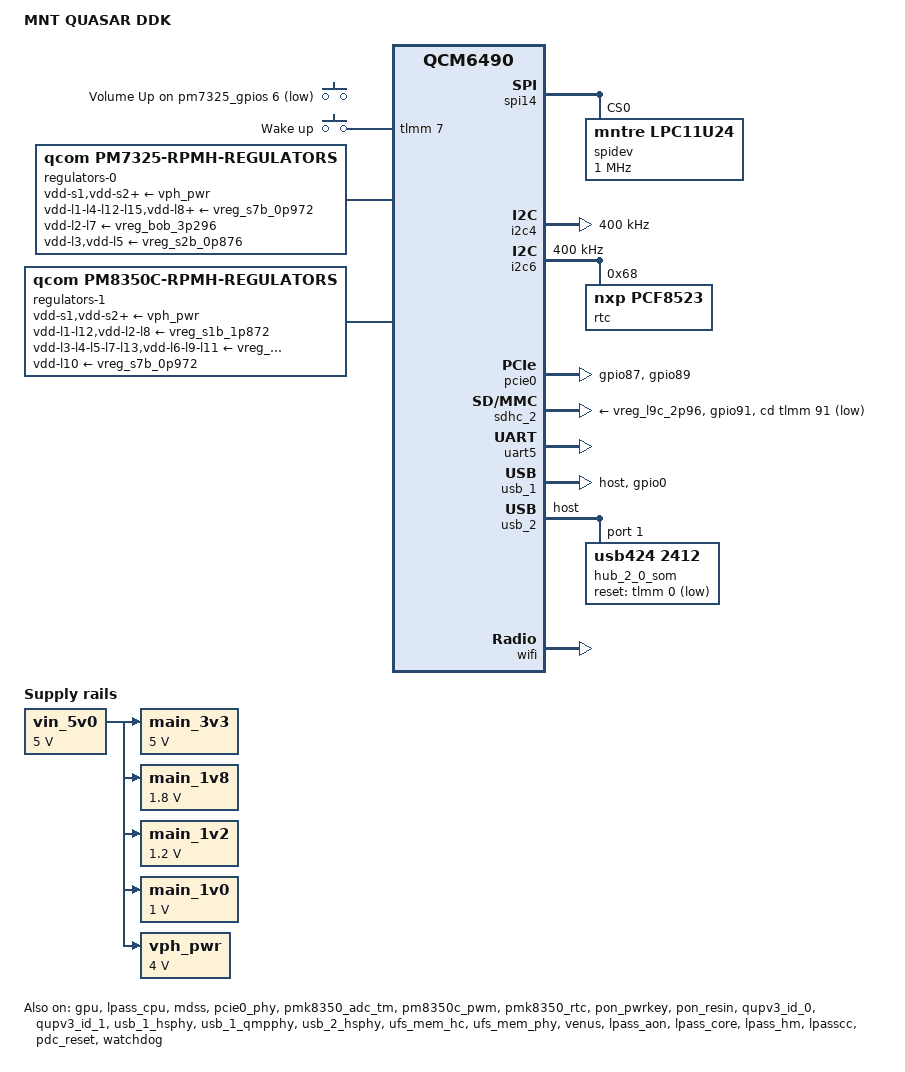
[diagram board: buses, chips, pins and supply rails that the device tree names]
// SPDX-License-Identifier: BSD-3-Clause
/*
 * Copyright (c) 2023-2024 Qualcomm Innovation Center, Inc.
 * Copyright (c) 2026, MNT Research GmbH
 */

/dts-v1/;

/* PM7250B is configured to use SID8/9 */
#define PM7250B_SID 8
#define PM7250B_SID1 9

#include <dt-bindings/iio/qcom,spmi-adc7-pmk8350.h>
#include <dt-bindings/iio/qcom,spmi-adc7-pm7325.h>
#include <dt-bindings/leds/common.h>
#include <dt-bindings/pinctrl/qcom,pmic-gpio.h>
#include <dt-bindings/regulator/qcom,rpmh-regulator.h>
#include "kodiak.dtsi"
#include "pm7250b.dtsi"
#include "pm7325.dtsi"
#include "pm8350c.dtsi"
#include "pmk8350.dtsi"

/delete-node/ &ipa_fw_mem;
/delete-node/ &rmtfs_mem;
/delete-node/ &adsp_mem;
/delete-node/ &cdsp_mem;
/delete-node/ &gpu_zap_mem;
/delete-node/ &gpu_zap_shader;
/delete-node/ &video_mem;
/delete-node/ &wlan_ce_mem;
/delete-node/ &wpss_mem;
/delete-node/ &xbl_mem;
/delete-node/ &hyp_mem;
/delete-node/ &reserved_xbl_uefi_log;

/ {
	model = "MNT QUASAR DDK";
	compatible = "mnt,qcs6490-quasar", "qcom,qcm6490";
	chassis-type = "embedded";

	aliases {
		serial0 = &uart5;
	};

	chosen {
		stdout-path = "serial0:115200n8";
	};

	vin_5v0: vin-5v0-regulator {
		compatible = "regulator-fixed";
		regulator-name = "vin_5v0";
		regulator-min-microvolt = <5000000>;
		regulator-max-microvolt = <5000000>;

		regulator-always-on;
		regulator-boot-on;
	};

	main_3v3: main-3v3-regulator {
		compatible = "regulator-fixed";
		regulator-name = "main_3v3";
		regulator-min-microvolt = <5000000>;
		regulator-max-microvolt = <5000000>;

		regulator-always-on;
		regulator-boot-on;

		vin-supply = <&vin_5v0>;
	};

	main_1v8: main-1v2-regulator {
		compatible = "regulator-fixed";
		regulator-name = "main_1v8";
		regulator-min-microvolt = <1800000>;
		regulator-max-microvolt = <1800000>;

		regulator-always-on;
		regulator-boot-on;

		vin-supply = <&vin_5v0>;
	};

	main_1v2: main-1v2-regulator {
		compatible = "regulator-fixed";
		regulator-name = "main_1v2";
		regulator-min-microvolt = <1200000>;
		regulator-max-microvolt = <1200000>;

		regulator-always-on;
		regulator-boot-on;

		vin-supply = <&vin_5v0>;
	};

	main_1v0: main-1v0-regulator {
		compatible = "regulator-fixed";
		regulator-name = "main_1v0";
		regulator-min-microvolt = <1000000>;
		regulator-max-microvolt = <1000000>;

		regulator-always-on;
		regulator-boot-on;

		vin-supply = <&vin_5v0>;
	};

	reserved-memory {
		xbl_mem: xbl@80700000 {
			reg = <0x0 0x80700000 0x0 0x100000>;
			no-map;
		};

		cdsp_secure_heap_mem: cdsp-secure-heap@81800000 {
			reg = <0x0 0x81800000 0x0 0x1e00000>;
			no-map;
		};

		camera_mem: camera@84300000 {
			reg = <0x0 0x84300000 0x0 0x500000>;
			no-map;
		};

		wpss_mem: wpss@84800000 {
			reg = <0x0 0x84800000 0x0 0x1900000>;
			no-map;
		};

		adsp_mem: adsp@86100000 {
			reg = <0x0 0x86100000 0x0 0x2800000>;
			no-map;
		};

		cdsp_mem: cdsp@88900000 {
			reg = <0x0 0x88900000 0x0 0x1e00000>;
			no-map;
		};

		video_mem: video@8a700000 {
			reg = <0x0 0x8a700000 0x0 0x700000>;
			no-map;
		};

		cvp_mem: cvp@8ae00000 {
			reg = <0x0 0x8ae00000 0x0 0x500000>;
			no-map;
		};

		ipa_fw_mem: ipa-fw@8b300000 {
			reg = <0x0 0x8b300000 0x0 0x10000>;
			no-map;
		};

		ipa_gsi_mem: ipa-gsi@8b310000 {
			reg = <0x0 0x8b310000 0x0 0xa000>;
			no-map;
		};

		gpu_microcode_mem: gpu-microcode@8b31a000 {
			reg = <0x0 0x8b31a000 0x0 0x2000>;
			no-map;
		};

		tz_stat_mem: tz-stat@c0000000 {
			reg = <0x0 0xc0000000 0x0 0x100000>;
			no-map;
		};

		tags_mem: tags@c0100000 {
			reg = <0x0 0xc0100000 0x0 0x1200000>;
			no-map;
		};

		qtee_mem: qtee@c1300000 {
			reg = <0x0 0xc1300000 0x0 0x500000>;
			no-map;
		};

		trusted_apps_mem: trusted-apps@c1800000 {
			reg = <0x0 0xc1800000 0x0 0x1c00000>;
			no-map;
		};

		debug_vm_mem: debug-vm@d0600000 {
			reg = <0x0 0xd0600000 0x0 0x100000>;
			no-map;
		};
	};

	gpio-keys {
		compatible = "gpio-keys";

		pinctrl-0 = <&kypd_vol_up_n &wakeup_key>;
		pinctrl-names = "default";

		key-volume-up {
			label = "Volume Up";
			gpios = <&pm7325_gpios 6 GPIO_ACTIVE_LOW>;
			linux,code = <KEY_VOLUMEUP>;
			linux,can-disable;
		};

		key-wakeup {
			label = "Wake up";
			gpios = <&tlmm 7 GPIO_ACTIVE_HIGH>;
			linux,code = <KEY_WAKEUP>;
			wakeup-source;
		};
	};

	thermal-zones {
		sdm-skin-thermal {
			thermal-sensors = <&pmk8350_adc_tm 3>;

			trips {
				active-config0 {
					temperature = <125000>;
					hysteresis = <1000>;
					type = "passive";
				};
			};
		};

		quiet-thermal {
			thermal-sensors = <&pmk8350_adc_tm 1>;

			trips {
				active-config0 {
					temperature = <125000>;
					hysteresis = <1000>;
					type = "passive";
				};
			};
		};

		xo-thermal {
			thermal-sensors = <&pmk8350_adc_tm 0>;

			trips {
				active-config0 {
					temperature = <125000>;
					hysteresis = <1000>;
					type = "passive";
				};
			};
		};
	};

	vph_pwr: vph-pwr-regulator {
		compatible = "regulator-fixed";
		regulator-name = "vph_pwr";
		regulator-min-microvolt = <4000000>;
		regulator-max-microvolt = <4000000>;
		regulator-always-on;
		regulator-boot-on;

		vin-supply = <&vin_5v0>;
	};
};

&apps_rsc {
	regulators-0 {
		compatible = "qcom,pm7325-rpmh-regulators";
		qcom,pmic-id = "b";

		vdd-s1-supply = <&vph_pwr>;
		vdd-s2-supply = <&vph_pwr>;
		vdd-s3-supply = <&vph_pwr>;
		vdd-s4-supply = <&vph_pwr>;
		vdd-s5-supply = <&vph_pwr>;
		vdd-s6-supply = <&vph_pwr>;
		vdd-s7-supply = <&vph_pwr>;
		vdd-s8-supply = <&vph_pwr>;
		vdd-l1-l4-l12-l15-supply = <&vreg_s7b_0p972>;
		vdd-l2-l7-supply = <&vreg_bob_3p296>;
		vdd-l3-supply = <&vreg_s2b_0p876>;
		vdd-l5-supply = <&vreg_s2b_0p876>;
		vdd-l6-l9-l10-supply = <&vreg_s8b_1p272>;
		vdd-l8-supply = <&vreg_s7b_0p972>;
		vdd-l11-l17-l18-l19-supply = <&vreg_s1b_1p872>;
		vdd-l13-supply = <&vreg_s7b_0p972>;
		vdd-l14-l16-supply = <&vreg_s8b_1p272>;

		vreg_s1b_1p872: smps1 {
			regulator-name = "vreg_s1b_1p872";
			regulator-min-microvolt = <1840000>;
			regulator-max-microvolt = <2040000>;
		};

		vreg_s2b_0p876: smps2 {
			regulator-name = "vreg_s2b_0p876";
			regulator-min-microvolt = <570070>;
			regulator-max-microvolt = <1050000>;
		};

		vreg_s7b_0p972: smps7 {
			regulator-name = "vreg_s7b_0p972";
			regulator-min-microvolt = <535000>;
			regulator-max-microvolt = <1120000>;
		};

		vreg_s8b_1p272: smps8 {
			regulator-name = "vreg_s8b_1p272";
			regulator-min-microvolt = <1200000>;
			regulator-max-microvolt = <1500000>;
			regulator-initial-mode = <RPMH_REGULATOR_MODE_RET>;
		};

		vreg_l1b_0p912: ldo1 {
			regulator-name = "vreg_l1b_0p912";
			regulator-min-microvolt = <825000>;
			regulator-max-microvolt = <925000>;
			regulator-initial-mode = <RPMH_REGULATOR_MODE_HPM>;
		};

		vreg_l2b_3p072: ldo2 {
			regulator-name = "vreg_l2b_3p072";
			regulator-min-microvolt = <2700000>;
			regulator-max-microvolt = <3544000>;
			regulator-initial-mode = <RPMH_REGULATOR_MODE_HPM>;
		};

		vreg_l3b_0p504: ldo3 {
			regulator-name = "vreg_l3b_0p504";
			regulator-min-microvolt = <312000>;
			regulator-max-microvolt = <910000>;
			regulator-initial-mode = <RPMH_REGULATOR_MODE_HPM>;
		};

		vreg_l4b_0p752: ldo4 {
			regulator-name = "vreg_l4b_0p752";
			regulator-min-microvolt = <752000>;
			regulator-max-microvolt = <820000>;
			regulator-initial-mode = <RPMH_REGULATOR_MODE_HPM>;
		};

		reg_l5b_0p752: ldo5 {
			regulator-name = "reg_l5b_0p752";
			regulator-min-microvolt = <552000>;
			regulator-max-microvolt = <832000>;
			regulator-initial-mode = <RPMH_REGULATOR_MODE_HPM>;
		};

		vreg_l6b_1p2: ldo6 {
			regulator-name = "vreg_l6b_1p2";
			regulator-min-microvolt = <1140000>;
			regulator-max-microvolt = <1260000>;
			regulator-initial-mode = <RPMH_REGULATOR_MODE_HPM>;
		};

		vreg_l7b_2p952: ldo7 {
			regulator-name = "vreg_l7b_2p952";
			regulator-min-microvolt = <2952000>;
			regulator-max-microvolt = <2952000>;
			regulator-initial-mode = <RPMH_REGULATOR_MODE_HPM>;
		};

		vreg_l8b_0p904: ldo8 {
			regulator-name = "vreg_l8b_0p904";
			regulator-min-microvolt = <870000>;
			regulator-max-microvolt = <970000>;
			regulator-initial-mode = <RPMH_REGULATOR_MODE_HPM>;
		};

		vreg_l9b_1p2: ldo9 {
			regulator-name = "vreg_l9b_1p2";
			regulator-min-microvolt = <1200000>;
			regulator-max-microvolt = <1200000>;
			regulator-initial-mode = <RPMH_REGULATOR_MODE_HPM>;
			regulator-allow-set-load;
			regulator-allowed-modes = <RPMH_REGULATOR_MODE_LPM
							 RPMH_REGULATOR_MODE_HPM>;
		};

		vreg_l11b_1p504: ldo11 {
			regulator-name = "vreg_l11b_1p504";
			regulator-min-microvolt = <1504000>;
			regulator-max-microvolt = <2000000>;
			regulator-initial-mode = <RPMH_REGULATOR_MODE_HPM>;
		};

		vreg_l12b_0p751: ldo12 {
			regulator-name = "vreg_l12b_0p751";
			regulator-min-microvolt = <751000>;
			regulator-max-microvolt = <824000>;
			regulator-initial-mode = <RPMH_REGULATOR_MODE_HPM>;
		};

		vreg_l13b_0p53: ldo13 {
			regulator-name = "vreg_l13b_0p53";
			regulator-min-microvolt = <530000>;
			regulator-max-microvolt = <824000>;
			regulator-initial-mode = <RPMH_REGULATOR_MODE_HPM>;
		};

		vreg_l14b_1p08: ldo14 {
			regulator-name = "vreg_l14b_1p08";
			regulator-min-microvolt = <1080000>;
			regulator-max-microvolt = <1304000>;
			regulator-initial-mode = <RPMH_REGULATOR_MODE_HPM>;
		};

		vreg_l15b_0p765: ldo15 {
			regulator-name = "vreg_l15b_0p765";
			regulator-min-microvolt = <765000>;
			regulator-max-microvolt = <1020000>;
			regulator-initial-mode = <RPMH_REGULATOR_MODE_HPM>;
		};

		vreg_l16b_1p1: ldo16 {
			regulator-name = "vreg_l16b_1p1";
			regulator-min-microvolt = <1100000>;
			regulator-max-microvolt = <1300000>;
			regulator-initial-mode = <RPMH_REGULATOR_MODE_HPM>;
		};

		vreg_l17b_1p7: ldo17 {
			regulator-name = "vreg_l17b_1p7";
			regulator-min-microvolt = <1700000>;
			regulator-max-microvolt = <1900000>;
			regulator-initial-mode = <RPMH_REGULATOR_MODE_HPM>;
		};

		vreg_l18b_1p8: ldo18 {
			regulator-name = "vreg_l18b_1p8";
			regulator-min-microvolt = <1800000>;
			regulator-max-microvolt = <2000000>;
			regulator-initial-mode = <RPMH_REGULATOR_MODE_HPM>;
		};

		vreg_l19b_1p8: ldo19 {
			regulator-name = "vreg_l19b_1p8";
			regulator-min-microvolt = <1800000>;
			regulator-max-microvolt = <2000000>;
			regulator-initial-mode = <RPMH_REGULATOR_MODE_HPM>;
		};
	};

	regulators-1 {
		compatible = "qcom,pm8350c-rpmh-regulators";
		qcom,pmic-id = "c";

		vdd-s1-supply = <&vph_pwr>;
		vdd-s2-supply = <&vph_pwr>;
		vdd-s3-supply = <&vph_pwr>;
		vdd-s4-supply = <&vph_pwr>;
		vdd-s5-supply = <&vph_pwr>;
		vdd-s6-supply = <&vph_pwr>;
		vdd-s7-supply = <&vph_pwr>;
		vdd-s8-supply = <&vph_pwr>;
		vdd-s9-supply = <&vph_pwr>;
		vdd-s10-supply = <&vph_pwr>;
		vdd-l1-l12-supply = <&vreg_s1b_1p872>;
		vdd-l2-l8-supply = <&vreg_s1b_1p872>;
		vdd-l3-l4-l5-l7-l13-supply = <&vreg_bob_3p296>;
		vdd-l6-l9-l11-supply = <&vreg_bob_3p296>;
		vdd-l10-supply = <&vreg_s7b_0p972>;
		vdd-bob-supply = <&vph_pwr>;

		vreg_s1c_2p19: smps1 {
			regulator-name = "vreg_s1c_2p19";
			regulator-min-microvolt = <2190000>;
			regulator-max-microvolt = <2210000>;
		};

		vreg_s2c_0p752: smps2 {
			regulator-name = "vreg_s2c_0p752";
			regulator-min-microvolt = <750000>;
			regulator-max-microvolt = <800000>;
		};

		vreg_s5c_0p752: smps5 {
			regulator-name = "vreg_s5c_0p752";
			regulator-min-microvolt = <465000>;
			regulator-max-microvolt = <1050000>;
		};

		vreg_s7c_0p752: smps7 {
			regulator-name = "vreg_s7c_0p752";
			regulator-min-microvolt = <465000>;
			regulator-max-microvolt = <800000>;
		};

		vreg_s9c_1p084: smps9 {
			regulator-name = "vreg_s9c_1p084";
			regulator-min-microvolt = <1010000>;
			regulator-max-microvolt = <1170000>;
		};

		vreg_l1c_1p8: ldo1 {
			regulator-name = "vreg_l1c_1p8";
			regulator-min-microvolt = <1800000>;
			regulator-max-microvolt = <1980000>;
			regulator-initial-mode = <RPMH_REGULATOR_MODE_HPM>;
		};

		vreg_l2c_1p62: ldo2 {
			regulator-name = "vreg_l2c_1p62";
			regulator-min-microvolt = <1620000>;
			regulator-max-microvolt = <1980000>;
			regulator-initial-mode = <RPMH_REGULATOR_MODE_HPM>;
		};

		vreg_l3c_2p8: ldo3 {
			regulator-name = "vreg_l3c_2p8";
			regulator-min-microvolt = <2800000>;
			regulator-max-microvolt = <3540000>;
			regulator-initial-mode = <RPMH_REGULATOR_MODE_HPM>;
		};

		vreg_l4c_1p62: ldo4 {
			regulator-name = "vreg_l4c_1p62";
			regulator-min-microvolt = <1620000>;
			regulator-max-microvolt = <3300000>;
			regulator-initial-mode = <RPMH_REGULATOR_MODE_HPM>;
		};

		vreg_l5c_1p62: ldo5 {
			regulator-name = "vreg_l5c_1p62";
			regulator-min-microvolt = <1620000>;
			regulator-max-microvolt = <3300000>;
			regulator-initial-mode = <RPMH_REGULATOR_MODE_HPM>;
		};

		vreg_l6c_2p96: ldo6 {
			regulator-name = "vreg_l6c_2p96";
			regulator-min-microvolt = <1650000>;
			regulator-max-microvolt = <3544000>;
			regulator-initial-mode = <RPMH_REGULATOR_MODE_HPM>;
		};

		vreg_l7c_3p0: ldo7 {
			regulator-name = "vreg_l7c_3p0";
			regulator-min-microvolt = <3000000>;
			regulator-max-microvolt = <3544000>;
			regulator-initial-mode = <RPMH_REGULATOR_MODE_HPM>;
		};

		vreg_l8c_1p62: ldo8 {
			regulator-name = "vreg_l8c_1p62";
			regulator-min-microvolt = <1620000>;
			regulator-max-microvolt = <2000000>;
			regulator-initial-mode = <RPMH_REGULATOR_MODE_HPM>;
		};

		vreg_l9c_2p96: ldo9 {
			regulator-name = "vreg_l9c_2p96";
			regulator-min-microvolt = <2700000>;
			regulator-max-microvolt = <35440000>;
			regulator-initial-mode = <RPMH_REGULATOR_MODE_HPM>;
		};

		vreg_l10c_0p88: ldo10 {
			regulator-name = "vreg_l10c_0p88";
			regulator-min-microvolt = <720000>;
			regulator-max-microvolt = <1050000>;
			regulator-initial-mode = <RPMH_REGULATOR_MODE_HPM>;
		};

		vreg_l11c_2p8: ldo11 {
			regulator-name = "vreg_l11c_2p8";
			regulator-min-microvolt = <2800000>;
			regulator-max-microvolt = <3544000>;
			regulator-initial-mode = <RPMH_REGULATOR_MODE_HPM>;
		};

		vreg_l12c_1p65: ldo12 {
			regulator-name = "vreg_l12c_1p65";
			regulator-min-microvolt = <1650000>;
			regulator-max-microvolt = <2000000>;
			regulator-initial-mode = <RPMH_REGULATOR_MODE_HPM>;
		};

		vreg_l13c_2p7: ldo13 {
			regulator-name = "vreg_l13c_2p7";
			regulator-min-microvolt = <2700000>;
			regulator-max-microvolt = <3544000>;
			regulator-initial-mode = <RPMH_REGULATOR_MODE_HPM>;
		};

		vreg_bob_3p296: bob {
			regulator-name = "vreg_bob_3p296";
			regulator-min-microvolt = <3008000>;
			regulator-max-microvolt = <3960000>;
		};
	};
};

&gcc {
	protected-clocks = <GCC_CFG_NOC_LPASS_CLK>,
			   <GCC_MSS_CFG_AHB_CLK>,
			   <GCC_MSS_GPLL0_MAIN_DIV_CLK_SRC>,
			   <GCC_MSS_OFFLINE_AXI_CLK>,
			   <GCC_MSS_Q6SS_BOOT_CLK_SRC>,
			   <GCC_MSS_Q6_MEMNOC_AXI_CLK>,
			   <GCC_MSS_SNOC_AXI_CLK>,
			   <GCC_QSPI_CNOC_PERIPH_AHB_CLK>,
			   <GCC_QSPI_CORE_CLK>,
			   <GCC_QSPI_CORE_CLK_SRC>,
			   <GCC_SEC_CTRL_CLK_SRC>,
			   <GCC_WPSS_AHB_BDG_MST_CLK>,
			   <GCC_WPSS_AHB_CLK>,
			   <GCC_WPSS_RSCP_CLK>;
};

&gpi_dma0 {
	status = "okay";
};

&gpi_dma1 {
	status = "okay";
};

&gpu {
	status = "okay";
};

&lpass_cpu {
	pinctrl-names = "default";
	pinctrl-0 = <&mi2s0_data0>, <&mi2s0_data1>, <&mi2s0_mclk>, <&mi2s0_sclk>, <&mi2s0_ws>;

	#address-cells = <1>;
	#size-cells = <0>;

	status = "okay";

	dai-link@0 {
		reg = <MI2S_PRIMARY>;
		qcom,playback-sd-lines = <0>;
		qcom,capture-sd-lines = <1>;
	};
};

&mi2s0_data0 {
	drive-strength = <6>;
	bias-disable;
};

&mi2s0_data1 {
	drive-strength = <6>;
	bias-disable;
};

&mi2s0_mclk {
	drive-strength = <6>;
	bias-disable;
};

&mi2s0_sclk {
	drive-strength = <6>;
	bias-disable;
};

&mi2s0_ws {
	drive-strength = <6>;
	bias-disable;
};

&sound {
	compatible = "google,sc7280-herobrine";

	#address-cells = <1>;
	#size-cells = <0>;

	dai-link@0 {
		link-name = "Primary";
		reg = <2>;

		cpu {
			sound-dai = <&lpass_cpu MI2S_PRIMARY>;
		};

		sound_primary_codec: codec {
		};
	};
};

&spi14 {
	status = "okay";
	num-cs = <1>;

	spidev@0 {
		compatible = "mntre,lpc11u24";
		spi-max-frequency = <1000000>;
		reg = <0>;
	};
};

&i2c4 {
	clock-frequency = <400000>;
	status = "okay";
};

&i2c6 {
	clock-frequency = <400000>;
	status = "okay";

	// in schematic:
	// DAC_SDA / DAC_SCL
	// SE1_SDA_1V8 / SE1_SCL_1V8
	// TODO: PCIE switch

	rtc@68 {
		compatible = "nxp,pcf8523";
		reg = <0x68>;
	};
};

&mdss {
	status = "okay";
};

&pcie0 {
	perst-gpios = <&tlmm 87 GPIO_ACTIVE_LOW>;
	pinctrl-0 = <&pcie0_reset_n>, <&pcie0_wake_n>;
	pinctrl-names = "default";
	status = "okay";

	iommu-map = <0x0 &apps_smmu 0x1c00 0x1>,
		    <0x100 &apps_smmu 0x1c01 0x1>,
		    <0x208 &apps_smmu 0x1c04 0x1>,
		    <0x210 &apps_smmu 0x1c05 0x1>,
		    <0x218 &apps_smmu 0x1c06 0x1>,
		    <0x300 &apps_smmu 0x1c07 0x1>,
		    <0x400 &apps_smmu 0x1c08 0x1>,
		    <0x500 &apps_smmu 0x1c09 0x1>,
		    <0x501 &apps_smmu 0x1c10 0x1>;
};

&pcie0_phy {
	status = "okay";
	qcom,refclk-always-on;
	vdda-phy-supply = <&vreg_l10c_0p88>;
	vdda-pll-supply = <&vreg_l6b_1p2>;
};

&pm7325_gpios {
	kypd_vol_up_n: kypd-vol-up-n-state {
		pins = "gpio6";
		function = PMIC_GPIO_FUNC_NORMAL;
		power-source = <1>;
		bias-pull-up;
		input-enable;
	};
};

&pm7325_temp_alarm {
	io-channels = <&pmk8350_vadc PM7325_ADC7_DIE_TEMP>;
	io-channel-names = "thermal";
};

&pmk8350_adc_tm {
	status = "okay";

	xo-therm@0 {
		reg = <0>;
		io-channels = <&pmk8350_vadc PMK8350_ADC7_AMUX_THM1_100K_PU>;
		qcom,ratiometric;
		qcom,hw-settle-time-us = <200>;
	};

	quiet-therm@1 {
		reg = <1>;
		io-channels = <&pmk8350_vadc PM7325_ADC7_AMUX_THM1_100K_PU>;
		qcom,ratiometric;
		qcom,hw-settle-time-us = <200>;
	};

	sdm-skin-therm@3 {
		reg = <3>;
		io-channels = <&pmk8350_vadc PM7325_ADC7_AMUX_THM3_100K_PU>;
		qcom,ratiometric;
		qcom,hw-settle-time-us = <200>;
	};
};

&pm8350c_gpios {
	backlight_pwm_out: backlight_pwm_out {
		pins = "gpio8";
		function = "func1";
		power-source = <1>;
		drive-push-pull;
		output-low;
		qcom,drive-strength = <3>;
	};
};

&pm8350c_pwm {
	nvmem = <&pmk8350_sdam_21>, <&pmk8350_sdam_22>;
	nvmem-names = "lpg_chan_sdam", "lut_sdam";

	pinctrl-names = "default";
	pinctrl-0 = <&backlight_pwm_out>;

	#address-cells = <1>;
	#size-cells = <0>;

	status = "okay";

	led@1 {
		reg = <1>;
		color = <LED_COLOR_ID_RED>;
		function = LED_FUNCTION_INDICATOR;
		function-enumerator = <3>;
		linux,default-trigger = "none";
		default-state = "on";
	};

	led@2 {
		reg = <2>;
		color = <LED_COLOR_ID_GREEN>;
		function = LED_FUNCTION_INDICATOR;
		function-enumerator = <2>;
		linux,default-trigger = "none";
		default-state = "off";
	};

	led@3 {
		reg = <3>;
		color = <LED_COLOR_ID_BLUE>;
		function = LED_FUNCTION_INDICATOR;
		function-enumerator = <1>;
		linux,default-trigger = "none";
		default-state = "on";
	};
};

&pmk8350_rtc {
	status = "okay";
};

&pmk8350_vadc {
	channel@3 {
		reg = <PMK8350_ADC7_DIE_TEMP>;
		label = "pmk8350_die_temp";
		qcom,pre-scaling = <1 1>;
	};

	channel@44 {
		reg = <PMK8350_ADC7_AMUX_THM1_100K_PU>;
		label = "xo_therm";
		qcom,hw-settle-time = <200>;
		qcom,pre-scaling = <1 1>;
		qcom,ratiometric;
	};

	channel@103 {
		reg = <PM7325_ADC7_DIE_TEMP>;
		label = "pm7325_die_temp";
		qcom,pre-scaling = <1 1>;
	};

	channel@144 {
		reg = <PM7325_ADC7_AMUX_THM1_100K_PU>;
		qcom,ratiometric;
		qcom,hw-settle-time = <200>;
		qcom,pre-scaling = <1 1>;
		label = "pm7325_quiet_therm";
	};

	channel@146 {
		reg = <PM7325_ADC7_AMUX_THM3_100K_PU>;
		qcom,ratiometric;
		qcom,hw-settle-time = <200>;
		qcom,pre-scaling = <1 1>;
		label = "pm7325_sdm_skin_therm";
	};
};

&pon_pwrkey {
	status = "okay";
};

&pon_resin {
	linux,code = <KEY_VOLUMEDOWN>;
	status = "okay";
};

&qupv3_id_0 {
	status = "okay";
	firmware-name = "qcom/qcs6490/qupv3fw.elf";
};

&qupv3_id_1 {
	status = "okay";
	firmware-name = "qcom/qcs6490/qupv3fw.elf";
};

&remoteproc_adsp {
	status = "disabled";
};

&remoteproc_cdsp {
	status = "disabled";
};

&remoteproc_mpss {
	status = "disabled";
};

&remoteproc_wpss {
	status = "disabled";
};

&sdhc_2 {
	pinctrl-0 = <&sdc2_clk>, <&sdc2_cmd>, <&sdc2_data>, <&sd_cd>;
	pinctrl-1 = <&sdc2_clk_sleep>, <&sdc2_cmd_sleep>, <&sdc2_data_sleep>, <&sd_cd>;

	vmmc-supply = <&vreg_l9c_2p96>;
	vqmmc-supply = <&vreg_l6c_2p96>;

	cd-gpios = <&tlmm 91 GPIO_ACTIVE_LOW>;

	status = "okay";
};

&tlmm {
	gpio-reserved-ranges = <32 2>, /* ADSP */
	  <48 4>; /* NFC */

	usbhub_reset: usb-hub-reset-state {
		pins = "gpio0";
		function = "gpio";
		drive-strength = <2>;
		bias-pull-down;
	};

	wakeup_key: wakeup-key-state {
		pins = "gpio7";
		function = "gpio";
		drive-strength = <2>;
		bias-pull-down;
		input-enable;
	};
};

&uart5 {
	status = "okay";
};

&usb_1 {
	dr_mode = "host";

	pinctrl-names = "default";
	pinctrl-0 = <&usbhub_reset>;

	status = "okay";
};

&usb_1_dwc3_ss {
	remote-endpoint = <&usb_dp_qmpphy_usb_ss_in>;
};

&usb_1_hsphy {
	vdda-pll-supply = <&vreg_l10c_0p88>;
	vdda33-supply = <&vreg_l2b_3p072>;
	vdda18-supply = <&vreg_l1c_1p8>;

	status = "okay";
};

&usb_1_qmpphy {
	vdda-phy-supply = <&vreg_l6b_1p2>;
	vdda-pll-supply = <&vreg_l1b_0p912>;

	/delete-property/ orientation-switch;
	status = "okay";
};

&usb_dp_qmpphy_usb_ss_in {
	remote-endpoint = <&usb_1_dwc3_ss>;
};

&usb_2 {
	#address-cells = <1>;
	#size-cells = <0>;

	dr_mode = "host";
	status = "okay";

	/* USB2412 2.0 hub to BT and MB_USB1 */
	hub_2_0_som: hub@1 {
		// FIXME: changed to 4-port hub in Quasar V2
		compatible = "usb424,2412";
		reg = <1>;
		#address-cells = <1>;
		#size-cells = <0>;

		reset-gpios = <&tlmm 0 GPIO_ACTIVE_LOW>;

		ax210-bluetooth@2 {
			compatible = "usb8087,32";
			reg = <2>;
		};
	};
};

&usb_2_hsphy {
	vdda-pll-supply = <&vreg_l10c_0p88>;
	vdda33-supply = <&vreg_l2b_3p072>;
	vdda18-supply = <&vreg_l1c_1p8>;

	status = "okay";
};

&ufs_mem_hc {
	reset-gpios = <&tlmm 175 GPIO_ACTIVE_LOW>;
	vcc-supply = <&vreg_l7b_2p952>;
	vcc-max-microamp = <800000>;
	vccq-supply = <&vreg_l9b_1p2>;
	vccq-max-microamp = <900000>;
	vccq2-supply = <&vreg_l9b_1p2>;
	vccq2-max-microamp = <900000>;

	status = "okay";
};

&ufs_mem_phy {
	vdda-phy-supply = <&vreg_l10c_0p88>;
	vdda-pll-supply = <&vreg_l6b_1p2>;

	status = "okay";
};

&scm {
	/* TF-A firmware maps memory cached so mark dma-coherent to match. */
	dma-coherent;
};

&venus {
	iommus = <&apps_smmu 0x2180 0x20>,
		 <&apps_smmu 0x2184 0x20>;

	status = "okay";

	video-firmware {
		iommus = <&apps_smmu 0x21a2 0x0>;
	};
};

/* PINCTRL - ADDITIONS TO NODES IN PARENT DEVICE TREE FILES */

&sdc2_clk {
	bias-disable;
	drive-strength = <16>;
};

&sdc2_cmd {
	bias-pull-up;
	drive-strength = <10>;
};

&sdc2_data {
	bias-pull-up;
	drive-strength = <10>;
};

&tlmm {
	backlight_enable: backlight-enable-state {
		pins = "gpio94";
		function = "gpio";
		drive-strength = <8>;
		bias-pull-down;
		output-high;
	};

	/*lt9611_irq_pin: lt9611-irq-state {
		pins = "gpio90";
		function = "gpio";
		drive-strength = <2>;
		bias-disable;
	};

	lt9611_rst_pin: lt9611-rst-state {
		pins = "gpio86";
		function = "gpio";
		drive-strength = <16>;
		output-high;
		bias-disable;
	};*/

	pcie0_reset_n: pcie0-reset-n-state {
		pins = "gpio87";
		function = "gpio";
		drive-strength = <16>;
		output-low;
		bias-disable;
	};

	pcie0_clkreq_n: pcie0-clkreq-n-state {
		pins = "gpio88";
		function = "gpio";
		drive-strength = <16>;
		output-low;
		bias-disable;
	};

	pcie0_wake_n: pcie0-wake-n-state {
		pins = "gpio89";
		function = "gpio";
		drive-strength = <2>;
		bias-pull-up;
	};

	pcie1_reset_n: pcie1-reset-n-state {
		pins = "gpio2";
		function = "gpio";
		drive-strength = <16>;
		output-low;
		bias-disable;
	};

	pcie1_wake_n: pcie1-wake-n-state {
		pins = "gpio3";
		function = "gpio";
		drive-strength = <2>;
		bias-pull-up;
	};

	sd_cd: sd-cd-state {
		pins = "gpio91";
		function = "gpio";
		bias-pull-up;
	};
	
	usb_hub_reset: usb-hub-state {
		pins = "gpio0";
		function = "gpio";
		drive-strength = <8>;
		output-high;
	};
};

//&lpass_audiocc {
//	compatible = "qcom,qcm6490-lpassaudiocc";
//	/delete-property/ power-domains;
//};

&lpass_aon {
	status = "okay";
};

&lpass_core {
	status = "okay";
};

&lpass_hm {
	status = "okay";
};

&lpasscc {
	status = "okay";
};

&pdc_reset {
	status = "okay";
};

&watchdog {
	status = "okay";
};

&wifi {
	/delete-property/ memory-region;
};
